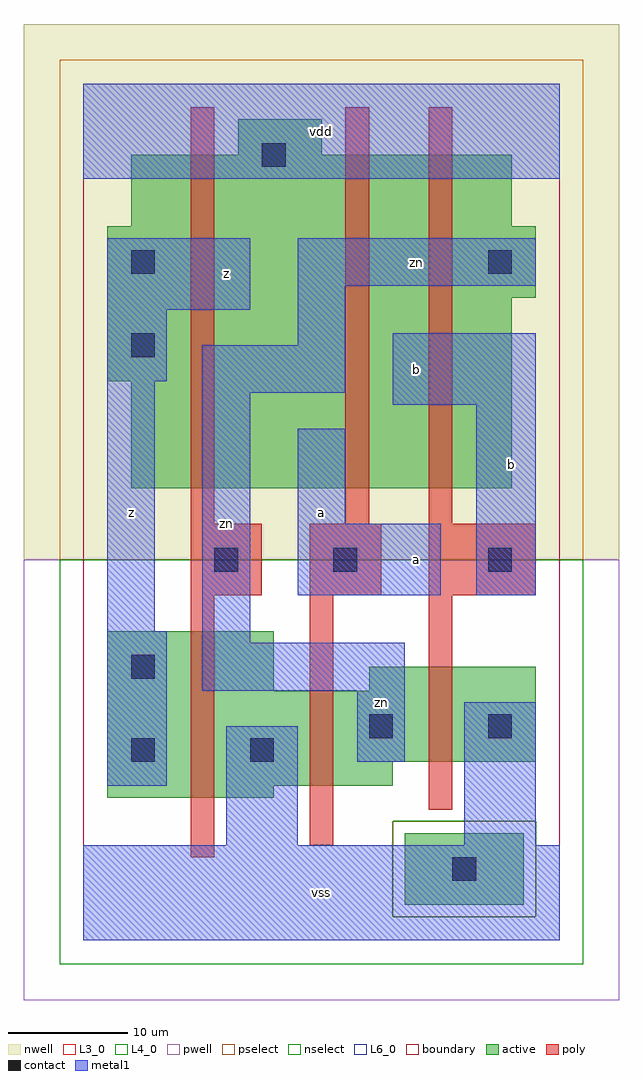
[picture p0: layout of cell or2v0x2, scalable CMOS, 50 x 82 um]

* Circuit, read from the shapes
.subckt or2v0x2 a b vdd vss z zn
M1 vss zn z vss nfet w=14u l=2u
M2 zn a vss vss nfet w=8u l=2u
M3 vss b zn vss nfet w=8u l=2u
M4 vdd zn z n1 pfet w=28u l=2u
M5 n2 a vdd n1 pfet w=28u l=2u
M6 zn b n2 n1 pfet w=28u l=2u
.ends

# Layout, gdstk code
import gdstk
lib = gdstk.Library(unit=1e-6, precision=1e-09)
def R(c, l, rs):  # rectangles x0, y0, x1, y1
    for r in rs: c.add(gdstk.rectangle(r[:2], r[2:], *l))
L3_0 = (3, 0)
L4_0 = (4, 0)
L6_0 = (6, 0)
contact = (25, 0)
pwell = (41, 0)
nwell = (42, 0)
active = (43, 0)
pselect = (44, 0)
nselect = (45, 0)
poly = (46, 0)
metal1 = (49, 0)
boundary = (63, 0)

or2v0x2 = lib.new_cell('or2v0x2')
R(or2v0x2, L3_0, [(2,12,16,13), (2,13,26,15), (2,15,38,21), (2,21,16,26), (24,21,38,23)])
R(or2v0x2, L4_0, [(4,38,36,47), (2,47,36,54), (2,54,38,60), (4,60,36,66), (13,66,20,69)])
R(or2v0x2, L6_0, [(27,3,37,9)])
R(or2v0x2, contact, [(31,5,33,7), (4,15,6,17), (14,15,16,17), (24,17,26,19), (34,17,36,19), (4,22,6,24), (11,31,13,33), (21,31,23,33), (34,31,36,33), (4,49,6,51), (4,56,6,58), (34,56,36,58), (15,65,17,67)])
R(or2v0x2, pwell, [(-5,-5,45,32)])
R(or2v0x2, nwell, [(-5,32,45,77)])
R(or2v0x2, active, [(27,3,37,9), (2,12,16,13), (2,13,26,15), (2,15,38,21), (2,21,16,26), (24,21,38,23), (4,38,36,47), (2,47,36,54), (2,54,38,60), (4,60,36,66), (13,66,20,69)])
R(or2v0x2, pselect, [(26,2,38,10), (-2,32,42,74)])
R(or2v0x2, nselect, [(-2,-2,42,2), (-2,2,26,10), (38,2,42,10), (-2,10,42,32)])
R(or2v0x2, poly, [(9,7,11,29), (19,8,21,29), (29,11,31,29), (9,29,15,35), (19,29,25,35), (29,29,38,35), (9,35,11,70), (22,35,24,70), (29,35,31,70)])
R(or2v0x2, metal1, [(0,0,40,8), (12,8,18,18), (32,8,38,20), (2,13,7,26), (23,15,27,21), (10,21,27,25), (10,25,14,46), (2,26,6,47), (18,29,30,35), (33,29,38,45), (18,35,22,43), (26,45,38,51), (10,46,22,50), (2,47,7,53), (18,50,22,55), (2,53,14,59), (18,55,38,59), (0,64,40,72)])
R(or2v0x2, boundary, [(0,0,40,72)])
or2v0x2.add(gdstk.Label('zn', (12,35), layer=49, texttype=0))
or2v0x2.add(gdstk.Label('zn', (25,20), layer=49, texttype=0))
or2v0x2.add(gdstk.Label('zn', (28,57), layer=49, texttype=0))
or2v0x2.add(gdstk.Label('z', (4,36), layer=49, texttype=0))
or2v0x2.add(gdstk.Label('z', (12,56), layer=49, texttype=0))
or2v0x2.add(gdstk.Label('vss', (20,4), layer=49, texttype=0))
or2v0x2.add(gdstk.Label('a', (28,32), layer=49, texttype=0))
or2v0x2.add(gdstk.Label('a', (20,36), layer=49, texttype=0))
or2v0x2.add(gdstk.Label('b', (28,48), layer=49, texttype=0))
or2v0x2.add(gdstk.Label('vdd', (20,68), layer=49, texttype=0))
or2v0x2.add(gdstk.Label('b', (36,40), layer=49, texttype=0))

lib.write_gds('or2v0x2.gds')
